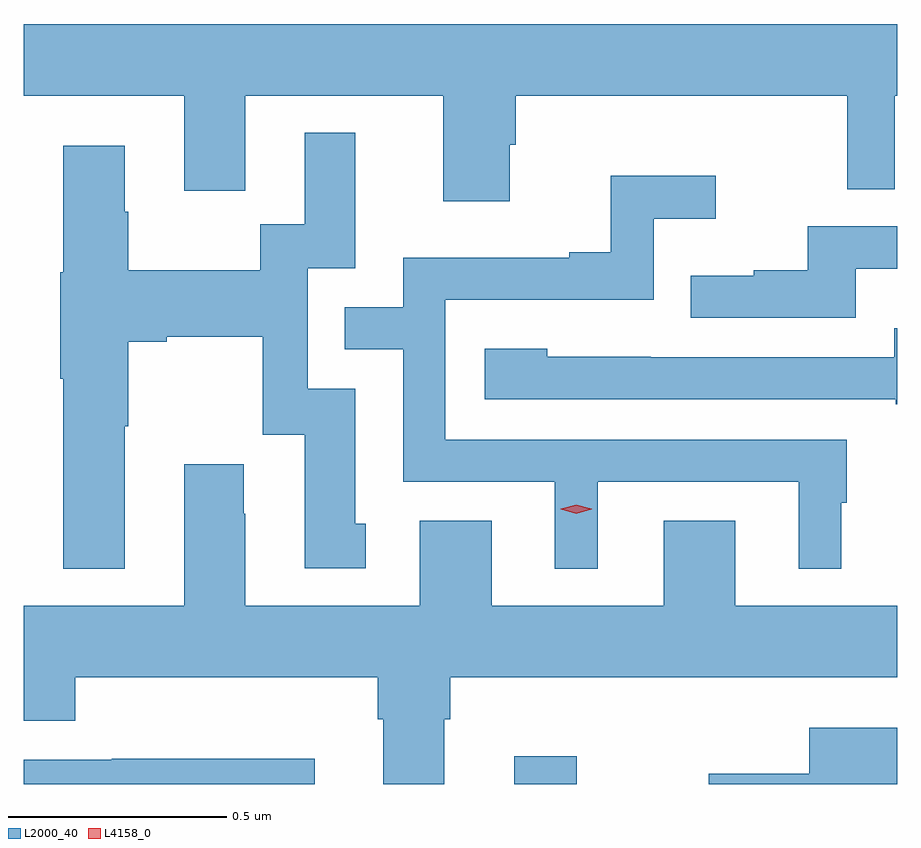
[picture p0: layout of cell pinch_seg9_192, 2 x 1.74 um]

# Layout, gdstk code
import gdstk
lib = gdstk.Library(unit=1e-6, precision=1e-09)
def R(c, l, rs):  # rectangles x0, y0, x1, y1
    for r in rs: c.add(gdstk.rectangle(r[:2], r[2:], *l))
def P(c, l, *ps):  # polygons
    for p in ps: c.add(gdstk.Polygon(p, *l))
L2000_40 = (2000, 40)
L4158_0 = (4158, 0)

pinch_seg9_192 = lib.new_cell('pinch_seg9_192')
R(pinch_seg9_192, L2000_40, [(630.443,1230.808,630.586,1230.871)])
P(pinch_seg9_192, L2000_40, [(630.433,1232.271),(630.446,1232.271),(630.446,1232.384),(631.206,1232.384),(631.206,1232.17),(631.314,1232.17),(631.314,1232.384),(631.32,1232.384),(631.32,1232.548),(629.32,1232.548),(629.32,1232.384),(629.687,1232.384),(629.687,1232.166),(629.827,1232.166),(629.827,1232.384),(630.281,1232.384),(630.281,1232.142),(630.433,1232.142)],
  [(629.551,1231.627),(629.559,1231.627),(629.559,1231.82),(629.647,1231.82),(629.647,1231.832),(629.867,1231.832),(629.867,1231.608),(629.963,1231.608),(629.963,1231.302),(630.103,1231.302),(630.103,1231.404),(630.079,1231.404),(630.079,1231.713),(629.97,1231.713),(629.97,1231.989),(630.079,1231.989),(630.079,1232.299),(629.963,1232.299),(629.963,1232.09),(629.862,1232.09),(629.862,1231.984),(629.559,1231.984),(629.559,1232.118),(629.551,1232.118),(629.551,1232.269),(629.411,1232.269),(629.411,1231.98),(629.404,1231.98),(629.404,1231.736),(629.411,1231.736),(629.411,1231.301),(629.551,1231.301)],
  [(630.634,1231.5),(631.094,1231.5),(631.094,1231.301),(631.192,1231.301),(631.192,1231.452),(631.204,1231.452),(631.204,1231.596),(630.285,1231.596),(630.285,1231.917),(630.762,1231.917),(630.762,1232.102),(630.904,1232.102),(630.904,1232.201),(630.664,1232.201),(630.664,1232.026),(630.569,1232.026),(630.569,1232.013),(630.189,1232.013),(630.189,1231.899),(630.055,1231.899),(630.055,1231.803),(630.189,1231.803),(630.189,1231.5),(630.536,1231.5),(630.536,1231.301),(630.634,1231.301)],
  [(631.225,1231.988),(631.32,1231.988),(631.32,1232.085),(631.115,1232.085),(631.115,1231.984),(630.991,1231.984),(630.991,1231.972),(630.847,1231.972),(630.847,1231.875),(631.225,1231.875)],
  [(631.32,1231.852),(631.313,1231.852),(631.313,1231.785),(630.755,1231.785),(630.755,1231.786),(630.519,1231.786),(630.519,1231.804),(630.375,1231.804),(630.375,1231.689),(631.317,1231.689),(631.317,1231.677),(631.32,1231.677)],
  [(629.824,1231.427),(629.824,1231.54),(629.687,1231.54),(629.687,1231.216),(629.32,1231.216),(629.32,1230.953),(629.438,1230.953),(629.438,1231.052),(630.131,1231.052),(630.131,1230.956),(630.143,1230.956),(630.143,1230.808),(630.283,1230.808),(630.283,1230.956),(630.296,1230.956),(630.296,1231.052),(631.32,1231.052),(631.32,1231.216),(630.949,1231.216),(630.949,1231.411),(630.785,1231.411),(630.785,1231.216),(630.391,1231.216),(630.391,1231.411),(630.227,1231.411),(630.227,1231.216),(629.827,1231.216),(629.827,1231.427)],
  [(631.32,1230.937),(631.118,1230.937),(631.118,1230.832),(630.888,1230.832),(630.888,1230.808),(631.32,1230.808)],
  [(629.986,1230.866),(629.521,1230.866),(629.521,1230.864),(629.32,1230.864),(629.32,1230.808),(629.986,1230.808)])
P(pinch_seg9_192, L4158_0, [(630.585,1231.427),(630.549,1231.437),(630.549,1231.437),(630.549,1231.438),(630.585,1231.447),(630.621,1231.438),(630.621,1231.437),(630.621,1231.437)])

lib.write_gds('pinch_seg9_192.gds')
